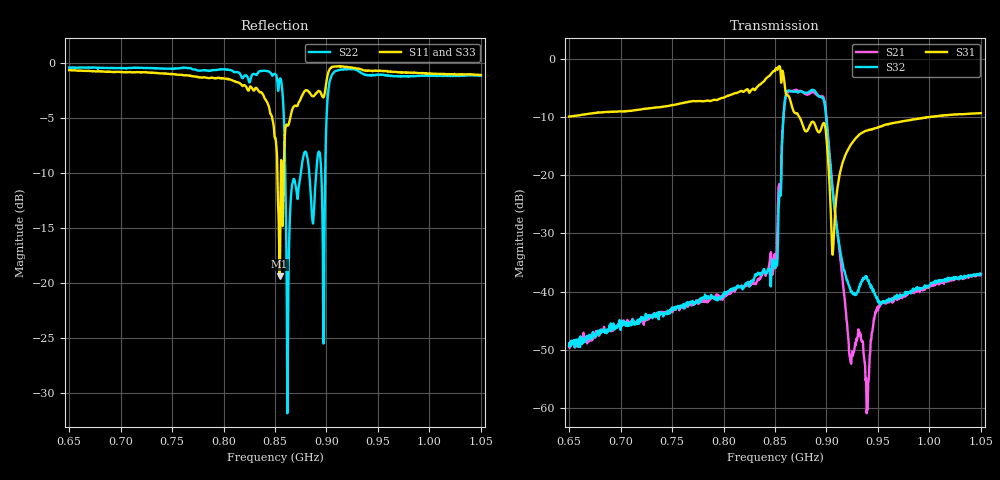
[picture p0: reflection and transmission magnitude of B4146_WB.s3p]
! Matrix data file written by TouchstoneData, EPCOS AG
! FILENAME: "L972G_WB.s3p"
! COMMENT: "(L972G_WBN1.s3p)"
! INFO: nport=3, nfreq=801
! DATE: "Fri Nov 14 14:07:58 2008"
! USER: "Aleksander Breg"
! port | pin | signal
!  1  |  2  |  input
!  2  |  4  |  output
!  3  |  6  |  output
# MHZ S MA R 50
! freq  magS11 angS11  magS12 angS12  magS13 angS13  ...
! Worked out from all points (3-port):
!   801 points, 650 MHz to 1.05 GHz, reference 50 ohm
!   strongest paths, dB at 650 MHz, 750 MHz, 850 MHz, 950 MHz, 1.05 GHz:
!     S31: -9.9, -8.0, -2.1, -11.8, -9.4
!     S32: -49.3, -42.7, -34.7, -41.8, -37.0
!     S21: -48.8, -43.3, -35.5, -43.2, -37.0
!   lowest |S11| = -19.4 dB at 854.5 MHz (marker M1), VSWR 1.24, Z = 55.4 - j9.99 ohm
!   |S11| at or under -10 dB: 852.2924 MHz to 855.8025 MHz (3.51 MHz wide, 0.411 % of centre); 856.3333 MHz to 858.5239 MHz (2.191 MHz wide, 0.255 % of centre)
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650  0.9282 -41.9  0.003679 -158.4  0.3183 48.1
     0.003613 -161.9  0.9546 -85.6  0.003621 -161.0
     0.3184 47.8  0.003433 -159.0  0.926 -40.7
850  0.4554 -83.7  0.01747 128.9  0.7843 -1.4
     0.01686 128.5  0.892 -173.1  0.01859 173.0
     0.7813 -1.7  0.01851 173.4  0.4556 -82.8
854.5  0.1073 -56.2  0.08402 90.1  0.8576 -22.3
       0.08311 89.9  0.8421 167.7  0.06956 -105.3
       0.8611 -22.2  0.07036 -105.4  0.1004 -64.1
861.5  0.5249 -19.4  0.5014 -74.3  0.4838 -38.5
       0.4981 -74.2  0.07762 47.3  0.5187 107.6
       0.4834 -38.8  0.5213 107.3  0.5063 -16.3
874  0.6721 -26.1  0.5302 94.7  0.3126 -37.0
     0.5301 94.8  0.2899 33.5  0.5231 -84.9
     0.3116 -37.2  0.5234 -85.4  0.6775 -25.8
884  0.7286 -34.7  0.5 -14.1  0.2674 -19.7
     0.5018 -13.5  0.2852 -144.4  0.5234 167.0
     0.2678 -20.0  0.5238 166.2  0.7077 -33.3
897  0.698 -28.2  0.4637 -178.3  0.2798 -40.5
     0.4655 -178.2  0.05319 -72.5  0.453 4.1
     0.2794 -40.6  0.4496 3.8  0.7112 -25.9
906.5  0.9628 -32.7  0.07063 68.7  0.02329 4.0
       0.07043 69.6  0.9002 -27.4  0.06501 -110.4
       0.02334 4.0  0.06485 -111.5  0.9646 -30.9
939.5  0.9222 -46.9  0.0005142 -170.3  0.2415 37.3
       0.0009952 174.5  0.8791 -80.0  0.01283 -165.0
       0.2414 37.3  0.01293 -166.7  0.9222 -45.2
1050  0.883 -57.9  0.01381 -173.0  0.3399 27.3
      0.01421 -173.1  0.8761 -105.1  0.01404 -171.6
      0.3406 27.1  0.01411 -171.6  0.8812 -56.2
